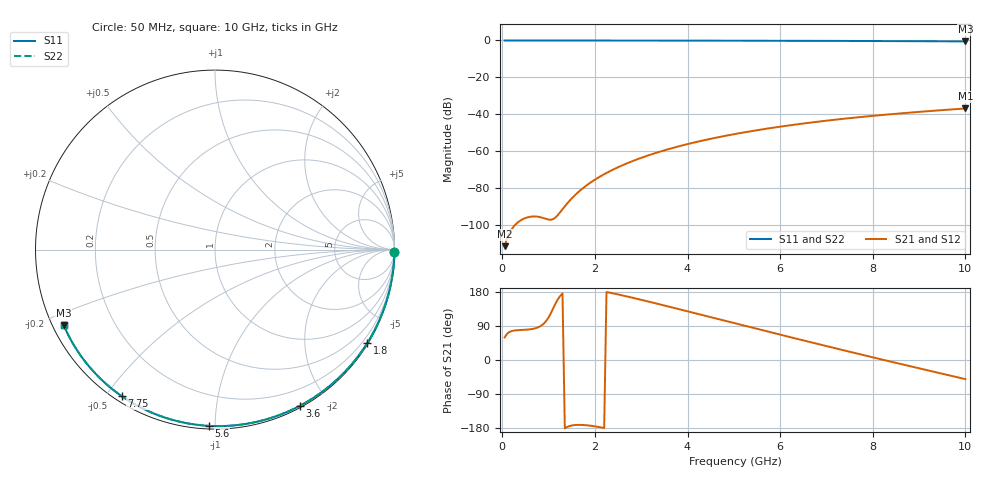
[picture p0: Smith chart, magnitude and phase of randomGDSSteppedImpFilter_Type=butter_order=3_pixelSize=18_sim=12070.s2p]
! freq	dB(S11)	phase(S11)	dB(S12)	phase(S12)
!  dB(S21)	phase(S21)	dB(S22)	phase(S22)
!S-par simulation data
#  GHz  S  DB  R 50
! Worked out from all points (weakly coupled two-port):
!   200 points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, 50 MHz to 10 GHz, reference 50 ohm
!   highest |S21| = -36.88 dB at 10 GHz (marker M1); lowest = -111.5 dB at 50 MHz (marker M2)
!   lowest |S11| = -0.5 dB at 10 GHz (marker M3), VSWR 33.71, Z = 1.57 - j11.7 ohm
!   |S11| at or under -10 dB: nowhere
!   |S22| runs from -0.5 to 0.0 dB; largest |S21 - S12| = 0
!   S11 on the Smith chart (normalised r, x): 50 MHz: open; 1.8 GHz: 0.03, -3.55; 3.6 GHz: 0.02, -1.69; 5.6 GHz: 0.02, -0.96; 7.75 GHz: 0.02, -0.55; 10 GHz: 0.03, -0.23
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0.05  -0.00 -0.9  -111.54 59.5  -111.54 59.5  -0.00 -0.9
0.45  -0.01 -8.0  -96.80 79.5  -96.80 79.5  -0.01 -8.0
0.9  -0.02 -15.9  -96.40 96.5  -96.40 96.5  -0.02 -15.9
1.3  -0.03 -22.9  -91.53 175.4  -91.53 175.4  -0.03 -22.9
1.75  -0.04 -30.6  -79.92 -171.5  -79.92 -171.5  -0.04 -30.6
1.8  -0.04 -31.5  -78.95 -172.0  -78.95 -172.0  -0.04 -31.5
1.95  -0.04 -34.1  -76.29 -174.2  -76.29 -174.2  -0.04 -34.1
2.1  -0.05 -36.6  -73.94 -177.1  -73.94 -177.1  -0.05 -36.6
2.3  -0.05 -40.0  -71.17 178.2  -71.17 178.2  -0.05 -40.0
2.5  -0.06 -43.4  -68.73 173.0  -68.73 173.0  -0.06 -43.4
2.9  -0.06 -50.0  -64.57 161.8  -64.57 161.8  -0.06 -50.0
3.4  -0.08 -58.2  -60.32 146.8  -60.32 146.8  -0.08 -58.2
3.6  -0.08 -61.4  -58.84 140.7  -58.84 140.7  -0.08 -61.4
4.3  -0.10 -72.4  -54.41 119.2  -54.41 119.2  -0.10 -72.4
5.05  -0.13 -83.9  -50.61 96.0  -50.61 96.0  -0.13 -83.9
5.6  -0.15 -92.0  -48.26 79.1  -48.26 79.1  -0.15 -92.0
6.15  -0.18 -100.0  -46.21 62.3  -46.21 62.3  -0.18 -100.0
6.7  -0.21 -107.9  -44.40 45.7  -44.40 45.7  -0.21 -107.9
7.75  -0.28 -122.5  -41.49 14.4  -41.49 14.4  -0.28 -122.5
8.35  -0.34 -130.8  -40.08 -3.2  -40.08 -3.2  -0.34 -130.8
9.2  -0.42 -142.4  -38.33 -27.7  -38.33 -27.7  -0.42 -142.5
10  -0.52 -153.5  -36.88 -50.4  -36.88 -50.4  -0.52 -153.5
